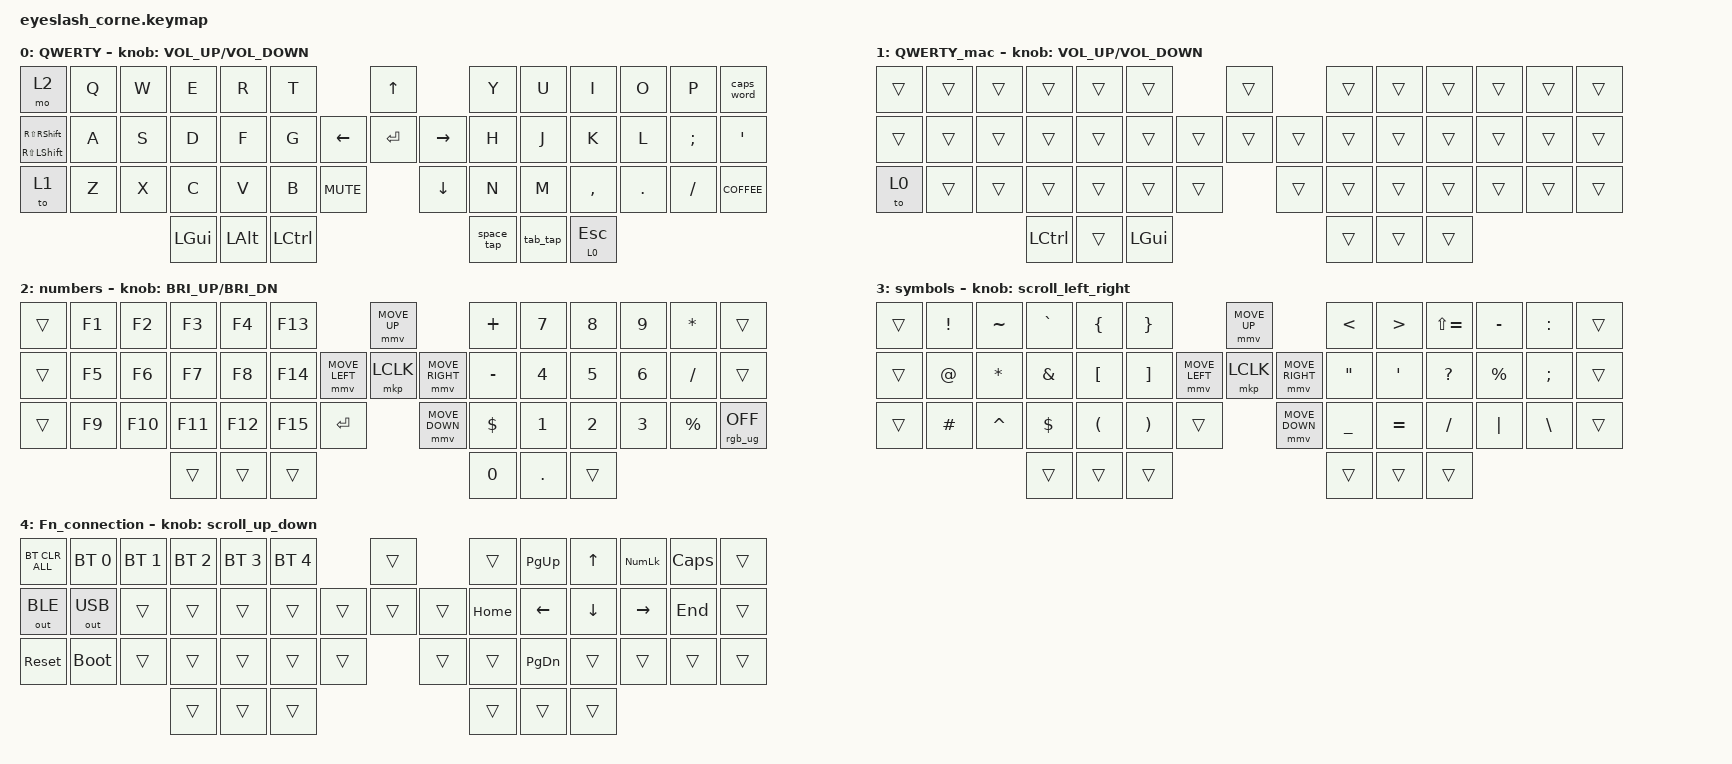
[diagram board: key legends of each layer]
#define ZMK_POINTING_DEFAULT_MOVE_VAL 1200  // 600
#define ZMK_POINTING_DEFAULT_SCRL_VAL 25   // 10

#include <input/processors.dtsi>
#include <zephyr/dt-bindings/input/input-event-codes.h>
#include <behaviors.dtsi>
#include <dt-bindings/zmk/bt.h>
#include <dt-bindings/zmk/keys.h>
#include <dt-bindings/zmk/outputs.h>
#include <dt-bindings/zmk/pointing.h>
#include <dt-bindings/zmk/rgb.h>

&mmv_input_listener { input-processors = <&zip_xy_scaler 2 1>; };

&msc_input_listener { input-processors = <&zip_scroll_scaler 2 1>; };

&msc {
    acceleration-exponent = <1>;      // 0
    time-to-max-speed-ms = <100>;       // 300
    delay-ms = <0>;                   // 0
};

&mmv {
    time-to-max-speed-ms = <500>;
    acceleration-exponent = <1>;
    trigger-period-ms = <16>;
};

/ {
    behaviors {
        tab_tap: tab_tap {
            compatible = "zmk,behavior-tap-dance";
            label = "TAB_TAP";
            #binding-cells = <0>;
            bindings = <&lt 4 TAB>, <&kp TAB>;

            tapping-term-ms = <100>;
        };

        scroll_up_down: scroll_up_down {
            compatible = "zmk,behavior-sensor-rotate";
            label = "SCROLL_UP_DOWN";
            #sensor-binding-cells = <0>;
            bindings = <&msc MOVE_Y(-10)>, <&msc MOVE_Y(10)>;

            tap-ms = <20>;
        };

        space_tap: space_tap {
            compatible = "zmk,behavior-tap-dance";
            label = "SPACE_TAP";
            #binding-cells = <0>;
            bindings = <&lt 3 SPACE>, <&kp SPACE>;

            tapping-term-ms = <100>;
        };

        scroll_left_right: scroll_left_right {
            compatible = "zmk,behavior-sensor-rotate";
            label = "SCROLL_LEFT_RIGHT";
            #sensor-binding-cells = <0>;
            bindings = <&msc MOVE_X(-10)>, <&msc MOVE_X(10)>;

            tap-ms = <20>;
        };
    };

    combos {
        compatible = "zmk,combos";

        enter {
            bindings = <&kp ENTER>;
            key-positions = <23 24>;
        };

        backspace {
            bindings = <&kp BACKSPACE>;
            key-positions = <17 16>;
        };

        delete {
            bindings = <&kp DELETE>;
            key-positions = <3 4>;
        };
    };

    keymap {
        compatible = "zmk,keymap";

        QWERTY {
            display-name = "QWERTY";
            bindings = <
&mo 2                     &kp Q  &kp W  &kp E     &kp R         &kp T                              &kp UP                &kp Y       &kp U     &kp I         &kp O    &kp P     &caps_word
&mt RS(LSHFT) RS(RSHIFT)  &kp A  &kp S  &kp D     &kp F         &kp G                    &kp LEFT  &kp ENTER  &kp RIGHT  &kp H       &kp J     &kp K         &kp L    &kp SEMI  &kp SQT
&to 1                     &kp Z  &kp X  &kp C     &kp V         &kp B      &kp C_MUTE              &kp DOWN              &kp N       &kp M     &kp COMMA     &kp DOT  &kp FSLH  &kp K_COFFEE
                                        &kp LGUI  &kp LEFT_ALT  &kp LCTRL                                                &space_tap  &tab_tap  &lt 0 ESCAPE
            >;

            sensor-bindings = <&inc_dec_kp C_VOLUME_UP C_VOLUME_DOWN>;
        };

        QWERTY_mac {
            bindings = <
&trans  &trans  &trans  &trans     &trans  &trans                      &trans          &trans  &trans  &trans  &trans  &trans  &trans
&trans  &trans  &trans  &trans     &trans  &trans              &trans  &trans  &trans  &trans  &trans  &trans  &trans  &trans  &trans
&to 0   &trans  &trans  &trans     &trans  &trans    &trans            &trans          &trans  &trans  &trans  &trans  &trans  &trans
                        &kp LCTRL  &trans  &kp LGUI                                    &trans  &trans  &trans
            >;

            sensor-bindings = <&inc_dec_kp C_VOLUME_UP C_VOLUME_DOWN>;
            label = "QWERTY_mac";
        };

        numbers {
            display-name = "numbers";
            bindings = <
&trans  &kp F1  &kp F2   &kp F3   &kp F4   &kp F13                               &mmv MOVE_UP                     &kp PLUS    &kp N7   &kp N8  &kp N9  &kp ASTERISK  &trans
&trans  &kp F5  &kp F6   &kp F7   &kp F8   &kp F14               &mmv MOVE_LEFT  &mkp LCLK       &mmv MOVE_RIGHT  &kp MINUS   &kp N4   &kp N5  &kp N6  &kp SLASH     &trans
&trans  &kp F9  &kp F10  &kp F11  &kp F12  &kp F15  &kp ENTER                    &mmv MOVE_DOWN                   &kp DOLLAR  &kp N1   &kp N2  &kp N3  &kp PERCENT   &rgb_ug RGB_OFF
                         &trans   &trans   &trans                                                                 &kp N0      &kp DOT  &trans
            >;

            sensor-bindings = <&inc_dec_kp C_BRI_UP C_BRI_DN>;
        };

        symbols {
            display-name = "symbols";
            bindings = <
&trans  &kp EXCLAMATION  &kp TILDE     &kp GRAVE      &kp LEFT_BRACE        &kp RIGHT_BRACE                                  &mmv MOVE_UP                     &kp LESS_THAN      &kp GREATER_THAN  &kp LS(EQUAL)  &kp MINUS    &kp COLON      &trans
&trans  &kp AT_SIGN      &kp ASTERISK  &kp AMPERSAND  &kp LEFT_BRACKET      &kp RIGHT_BRACKET                &mmv MOVE_LEFT  &mkp LCLK       &mmv MOVE_RIGHT  &kp DOUBLE_QUOTES  &kp SQT           &kp QUESTION   &kp PERCENT  &kp SEMICOLON  &trans
&trans  &kp HASH         &kp CARET     &kp DOLLAR     &kp LEFT_PARENTHESIS  &kp RIGHT_PARENTHESIS  &trans                    &mmv MOVE_DOWN                   &kp UNDERSCORE     &kp EQUAL         &kp SLASH      &kp PIPE     &kp BACKSLASH  &trans
                                       &trans         &trans                &trans                                                                            &trans             &trans            &trans
            >;

            sensor-bindings = <&scroll_left_right>;
        };

        Fn_connection {
            bindings = <
&bt BT_CLR_ALL  &bt BT_SEL 0  &bt BT_SEL 1  &bt BT_SEL 2  &bt BT_SEL 3  &bt BT_SEL 4                    &trans          &trans    &kp PG_UP  &kp UP    &kp KP_NUM  &kp CAPS  &trans
&out OUT_BLE    &out OUT_USB  &trans        &trans        &trans        &trans                  &trans  &trans  &trans  &kp HOME  &kp LEFT   &kp DOWN  &kp RIGHT   &kp END   &trans
&sys_reset      &bootloader   &trans        &trans        &trans        &trans        &trans            &trans          &trans    &kp PG_DN  &trans    &trans      &trans    &trans
                                            &trans        &trans        &trans                                          &trans    &trans     &trans
            >;

            sensor-bindings = <&scroll_up_down>;
            label = "Fn_connection";
        };
    };
};
